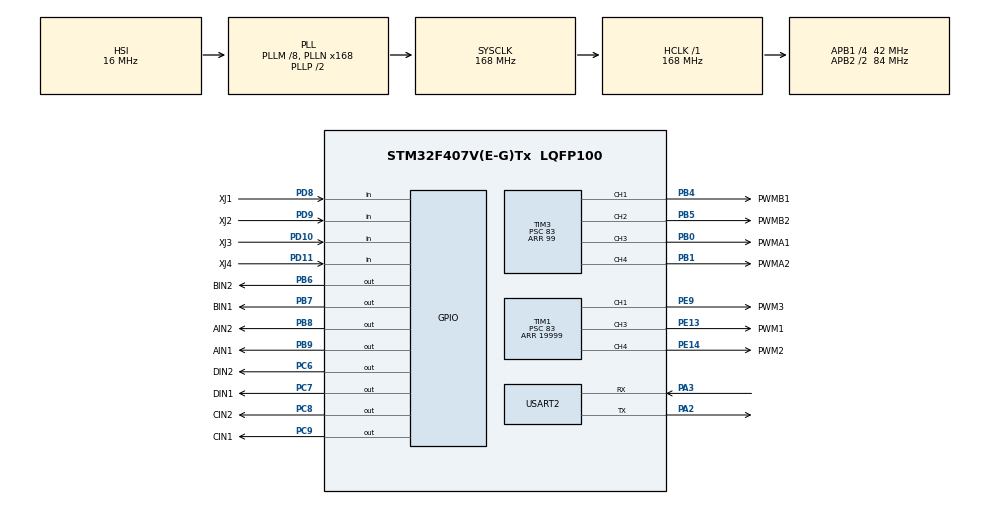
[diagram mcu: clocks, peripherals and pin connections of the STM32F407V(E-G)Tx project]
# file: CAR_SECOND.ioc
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Mcu.Family=STM32F4
Mcu.Name=STM32F407V(E-G)Tx
Mcu.Package=LQFP100
NVIC.PriorityGroup=NVIC_PRIORITYGROUP_4
PA0-WKUP.Mode=SYS_WakeUp0
PA0-WKUP.Signal=SYS_WKUP
PA13.GPIO_Label=SWDIO
PA13.Mode=Serial_Wire
PA13.Signal=SYS_JTMS-SWDIO
PA14.GPIO_Label=SWCLK
PA14.Mode=Serial_Wire
PA14.Signal=SYS_JTCK-SWCLK
PA2.Mode=Asynchronous
PA2.Signal=USART2_TX
PA3.Mode=Asynchronous
PA3.Signal=USART2_RX
PA5.Signal=SPI1_SCK
PA6.Signal=SPI1_MISO
PA7.Signal=SPI1_MOSI
PB0.GPIO_Label=PWMA1
PB0.Signal=S_TIM3_CH3
PB1.GPIO_Label=PWMA2
PB1.Signal=S_TIM3_CH4
PB10.Signal=I2C2_SCL
PB11.Signal=I2C2_SDA
PB13.Signal=TIM1_CH1N
PB14.Signal=TIM1_CH2N
PB4.GPIO_Label=PWMB1
PB4.Signal=S_TIM3_CH1
PB5.GPIO_Label=PWMB2
PB5.Signal=S_TIM3_CH2
PB6.GPIO_Label=BIN2
PB6.GPIO_Speed=GPIO_SPEED_FREQ_HIGH
PB6.Signal=GPIO_Output
PB7.GPIO_Label=BIN1
PB7.GPIO_Speed=GPIO_SPEED_FREQ_HIGH
PB7.Signal=GPIO_Output
PB8.GPIO_Label=AIN2
PB8.GPIO_Speed=GPIO_SPEED_FREQ_HIGH
PB8.Signal=GPIO_Output
PB9.GPIO_Label=AIN1
PB9.GPIO_Speed=GPIO_SPEED_FREQ_HIGH
PB9.Signal=GPIO_Output
PC6.GPIO_Label=DIN2
PC6.GPIO_Speed=GPIO_SPEED_FREQ_HIGH
PC6.Signal=GPIO_Output
PC7.GPIO_Label=DIN1
PC7.GPIO_Speed=GPIO_SPEED_FREQ_HIGH
PC7.Signal=GPIO_Output
PC8.GPIO_Label=CIN2
PC8.GPIO_Speed=GPIO_SPEED_FREQ_HIGH
PC8.Signal=GPIO_Output
PC9.GPIO_Label=CIN1
PC9.GPIO_Speed=GPIO_SPEED_FREQ_HIGH
PC9.Signal=GPIO_Output
PD10.GPIO_Label=XJ3
PD10.Signal=GPIO_Input
PD11.GPIO_Label=XJ4
PD11.Signal=GPIO_Input
PD8.GPIO_Label=XJ1
PD8.Signal=GPIO_Input
PD9.GPIO_Label=XJ2
PD9.Signal=GPIO_Input
PE13.GPIO_Label=PWM1
PE13.Signal=S_TIM1_CH3
PE14.GPIO_Label=PWM2
PE14.Signal=S_TIM1_CH4
PE9.GPIO_Label=PWM3
PE9.Signal=S_TIM1_CH1
PH0-OSC_IN.GPIO_Label=OSC_IN
PH0-OSC_IN.Signal=RCC_OSC_IN
PH1-OSC_OUT.GPIO_Label=OSC_OUT
PH1-OSC_OUT.Signal=RCC_OSC_OUT
ProjectManager.HeapSize=0x200
ProjectManager.StackSize=0x400
ProjectManager.TargetToolchain=MDK-ARM V5.32
RCC.48MHZClocksFreq_Value=84000000
RCC.AHBFreq_Value=168000000
RCC.APB1CLKDivider=RCC_HCLK_DIV4
RCC.APB1Freq_Value=42000000
RCC.APB1TimFreq_Value=84000000
RCC.APB2CLKDivider=RCC_HCLK_DIV2
RCC.APB2Freq_Value=84000000
RCC.APB2TimFreq_Value=168000000
RCC.CortexFreq_Value=168000000
RCC.HCLKFreq_Value=168000000
RCC.HSE_VALUE=25000000
RCC.HSI_VALUE=16000000
RCC.LSE_VALUE=32768
RCC.PLLM=8
RCC.PLLN=168
RCC.SYSCLKFreq_VALUE=168000000
RCC.SYSCLKSource=RCC_SYSCLKSOURCE_PLLCLK
RCC.VCOOutputFreq_Value=336000000
SH.S_TIM1_CH1.0=TIM1_CH1,PWM Generation1 CH1
SH.S_TIM1_CH3.0=TIM1_CH3,PWM Generation3 CH3
SH.S_TIM1_CH4.0=TIM1_CH4,PWM Generation4 CH4
SH.S_TIM3_CH1.0=TIM3_CH1,PWM Generation1 CH1
SH.S_TIM3_CH2.0=TIM3_CH2,PWM Generation2 CH2
SH.S_TIM3_CH3.0=TIM3_CH3,PWM Generation3 CH3
SH.S_TIM3_CH4.0=TIM3_CH4,PWM Generation4 CH4
TIM1.Channel-PWM\ Generation1\ CH1=TIM_CHANNEL_1
TIM1.Channel-PWM\ Generation3\ CH3=TIM_CHANNEL_3
TIM1.Channel-PWM\ Generation4\ CH4=TIM_CHANNEL_4
TIM1.Period=19999
TIM1.Prescaler=83
TIM1.Pulse-PWM\ Generation1\ CH1=50
TIM1.Pulse-PWM\ Generation3\ CH3=50
TIM3.AutoReloadPreload=TIM_AUTORELOAD_PRELOAD_ENABLE
TIM3.Channel-PWM\ Generation1\ CH1=TIM_CHANNEL_1
TIM3.Channel-PWM\ Generation2\ CH2=TIM_CHANNEL_2
TIM3.Channel-PWM\ Generation3\ CH3=TIM_CHANNEL_3
TIM3.Channel-PWM\ Generation4\ CH4=TIM_CHANNEL_4
TIM3.Period=99
TIM3.Prescaler=83
USART2.VirtualMode=VM_ASYNC
board=custom

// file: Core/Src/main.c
/* USER CODE BEGIN Header */
/**
  ******************************************************************************
  * @file           : main.c
  * @brief          : Main program body
  ******************************************************************************
  * @attention
  *
  * Copyright (c) 2026 STMicroelectronics.
  * All rights reserved.
  *
  * This software is licensed under terms that can be found in the LICENSE file
  * in the root directory of this software component.
  * If no LICENSE file comes with this software, it is provided AS-IS.
  *
  ******************************************************************************
  */
/* USER CODE END Header */
#include "main.h"
#include "tim.h"
#include "usart.h"
#include "gpio.h"

/* USER CODE BEGIN Includes */
#include <stdlib.h>
#include "motor.h"
#include "mecanum.h"
#include "bluetooth.h"
#include "line_follow.h"
#include "arm.h"
/* USER CODE END Includes */

/* USER CODE BEGIN PV */
// 当前工作模式
// [WARNING] 请勿修改本区域中文注�??
static WorkMode_t current_mode = MODE_REMOTE;
/* USER CODE END PV */

void SystemClock_Config(void);

int main(void)
{

  /* MCU Configuration--------------------------------------------------------*/

  /* Reset of all peripherals, Initializes the Flash interface and the Systick. */
  HAL_Init();

  /* Configure the system clock */
  SystemClock_Config();

  /* Initialize all configured peripherals */
  MX_GPIO_Init();
  MX_TIM1_Init();
  MX_USART2_UART_Init();
  MX_TIM3_Init();
  /* USER CODE BEGIN 2 */
  // 初始化自定义模块
  Motor_Init();
  Mecanum_Init();
  Bluetooth_Init();
  LineFollow_Init();
  Arm_Init();

  // 初始设置中�?�档
  Mecanum_SetGear(2);
  /* USER CODE END 2 */

  /* Infinite loop */
  while (1)
  {

    /* USER CODE BEGIN 3 */
    // 获取当前模式
    current_mode = Bluetooth_GetMode();

    // 获取当前档位
    uint8_t gear = Bluetooth_GetGear();
    Mecanum_SetGear(gear);

    // 根据模式执行不同逻辑
    if (current_mode == MODE_REMOTE) {
        // ========== 遥控模式 ==========

        // 获取摇杆值（-100 �??? +100�???
        int16_t forward = Bluetooth_GetForward();
        int16_t side = Bluetooth_GetSide();

        // 如果摇杆在中心附近，停止
        if (abs(forward) < 5 && abs(side) < 5) {
            Mecanum_Stop();
        } else {
            // 斜向移动
            Mecanum_MoveDiagonal(forward, side);
        }

        // 机械臂控制
        Arm_Update();

    } else {
        // ========== 循迹模式 ==========

        // 循迹全程不允许遥�??
        LineFollow_Update();
    }
	}
  /* USER CODE END 3 */
}

void SystemClock_Config(void)
{
  RCC_OscInitTypeDef RCC_OscInitStruct = {0};
  RCC_ClkInitTypeDef RCC_ClkInitStruct = {0};

  /** Configure the main internal regulator output voltage
  */
  __HAL_RCC_PWR_CLK_ENABLE();
  __HAL_PWR_VOLTAGESCALING_CONFIG(PWR_REGULATOR_VOLTAGE_SCALE1);

  /** Initializes the RCC Oscillators according to the specified parameters
  * in the RCC_OscInitTypeDef structure.
  */
  RCC_OscInitStruct.OscillatorType = RCC_OSCILLATORTYPE_HSI;
  RCC_OscInitStruct.HSIState = RCC_HSI_ON;
  RCC_OscInitStruct.HSICalibrationValue = RCC_HSICALIBRATION_DEFAULT;
  RCC_OscInitStruct.PLL.PLLState = RCC_PLL_ON;
  RCC_OscInitStruct.PLL.PLLSource = RCC_PLLSOURCE_HSI;
  RCC_OscInitStruct.PLL.PLLM = 8;
  RCC_OscInitStruct.PLL.PLLN = 168;
  RCC_OscInitStruct.PLL.PLLP = RCC_PLLP_DIV2;
  RCC_OscInitStruct.PLL.PLLQ = 4;
  if (HAL_RCC_OscConfig(&RCC_OscInitStruct) != HAL_OK)
  {
    Error_Handler();
  }

  /** Initializes the CPU, AHB and APB buses clocks
  */
  RCC_ClkInitStruct.ClockType = RCC_CLOCKTYPE_HCLK|RCC_CLOCKTYPE_SYSCLK
                              |RCC_CLOCKTYPE_PCLK1|RCC_CLOCKTYPE_PCLK2;
  RCC_ClkInitStruct.SYSCLKSource = RCC_SYSCLKSOURCE_PLLCLK;
  RCC_ClkInitStruct.AHBCLKDivider = RCC_SYSCLK_DIV1;
  RCC_ClkInitStruct.APB1CLKDivider = RCC_HCLK_DIV4;
  RCC_ClkInitStruct.APB2CLKDivider = RCC_HCLK_DIV2;

  if (HAL_RCC_ClockConfig(&RCC_ClkInitStruct, FLASH_LATENCY_5) != HAL_OK)
  {
    Error_Handler();
  }
}

void Error_Handler(void)
{
  __disable_irq();
  while (1)
  {
  }
}
